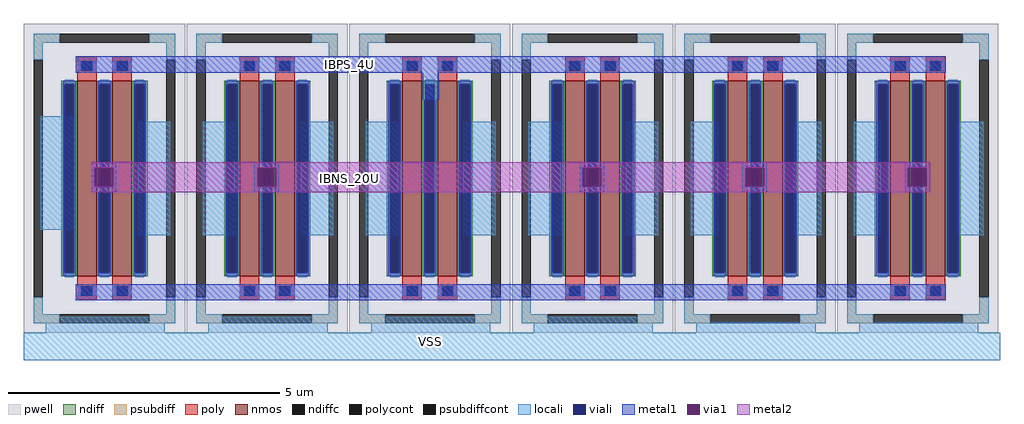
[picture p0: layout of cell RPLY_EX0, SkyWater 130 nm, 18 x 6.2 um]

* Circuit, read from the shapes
.subckt RPLY_EX0 VSS IBPS_4U IBNS_20U
XM1 IBNS_20U IBPS_4U VSS VSS sky130_fd_pr__nfet_01v8 w=3.6 l=0.36 m=10
XM2 IBPS_4U IBPS_4U VSS VSS sky130_fd_pr__nfet_01v8 w=3.6 l=0.36 m=2
.ends

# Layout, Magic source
magic
tech sky130B
magscale 1 2
<< locali >>
rect -2640 480 -2520 900
rect -2280 460 -2160 880
rect -2040 460 -1920 880
rect -1680 460 -1560 880
rect -1440 460 -1320 880
rect -1080 460 -960 880
rect -840 460 -720 880
rect -480 460 -360 880
rect -240 460 -140 880
rect 140 460 240 880
rect 360 460 460 880
rect 740 460 840 880
rect -2620 100 -2180 160
rect -2020 100 -1580 160
rect -1420 100 -980 160
rect -820 100 -380 160
rect -220 100 220 140
rect 380 100 820 140
rect -2700 0 900 100
<< metal1 >>
rect -2510 1060 700 1120
rect -1230 960 -1170 1060
rect -2450 710 -2360 730
rect -2450 640 -2440 710
rect -2370 640 -2360 710
rect -2450 620 -2360 640
rect -1850 710 -1760 730
rect -1850 640 -1840 710
rect -1770 640 -1760 710
rect -1850 620 -1760 640
rect -650 710 -560 730
rect -650 640 -640 710
rect -570 640 -560 710
rect -650 620 -560 640
rect -50 710 40 730
rect -50 640 -40 710
rect 30 640 40 710
rect -50 620 40 640
rect 550 710 640 730
rect 550 640 560 710
rect 630 640 640 710
rect 550 620 640 640
rect -2510 220 700 280
<< via1 >>
rect -2440 640 -2370 710
rect -1840 640 -1770 710
rect -640 640 -570 710
rect -40 640 30 710
rect 560 640 630 710
<< metal2 >>
rect -2450 710 640 730
rect -2450 640 -2440 710
rect -2370 640 -1840 710
rect -1770 640 -640 710
rect -570 640 -40 710
rect 30 640 560 710
rect 630 640 640 710
rect -2450 620 640 640
use sky130_fd_pr__nfet_01v8_5CE34N  M2
transform 1 0 597 0 1 670
box -297 -570 297 570
use sky130_fd_pr__nfet_01v8_5CE34N  sky130_fd_pr__nfet_01v8_5CE34N_0
transform 1 0 -2403 0 1 670
box -297 -570 297 570
use sky130_fd_pr__nfet_01v8_5CE34N  sky130_fd_pr__nfet_01v8_5CE34N_1
transform 1 0 -1803 0 1 670
box -297 -570 297 570
use sky130_fd_pr__nfet_01v8_5CE34N  sky130_fd_pr__nfet_01v8_5CE34N_2
transform 1 0 -1203 0 1 670
box -297 -570 297 570
use sky130_fd_pr__nfet_01v8_5CE34N  sky130_fd_pr__nfet_01v8_5CE34N_3
transform 1 0 -603 0 1 670
box -297 -570 297 570
use sky130_fd_pr__nfet_01v8_5CE34N  sky130_fd_pr__nfet_01v8_5CE34N_4
transform 1 0 -3 0 1 670
box -297 -570 297 570
<< labels >>
flabel metal2 -1560 620 -1440 720 0 FreeSans 480 0 0 0 IBNS_20U
port 3 nsew
flabel metal1 -1560 1040 -1440 1140 0 FreeSans 480 0 0 0 IBPS_4U
port 2 nsew
flabel locali -1260 20 -1140 120 0 FreeSans 480 0 0 0 VSS
port 1 nsew
<< end >>

# cell sky130_fd_pr__nfet_01v8_5CE34N: kit device sky130_fd_pr__nfet_01v8, w 3.6 l 0.36 m 1 nf 2 diffcov 100 polycov 100 guard 1 glc 1 grc 1 gtc 1 gbc 1 tbcov 100 rlcov 100 topc 1 botc 1 poverlap 0 doverlap 1 lmin 0.15 wmin 0.42 compatible {sky130_fd_pr__nfet_01v8 sky130_fd_pr__nfet_01v8_lvt sky130_fd_bs_flash__special_sonosfet_star sky130_fd_pr__nfet_g5v0d10v5 sky130_fd_pr__nfet_05v0_nvt sky130_fd_pr__nfet_03v3_nvt} full_metal 1 viasrc 100 viadrn 100 viagate 100 viagb 0 viagr 0 viagl 0 viagt 0
